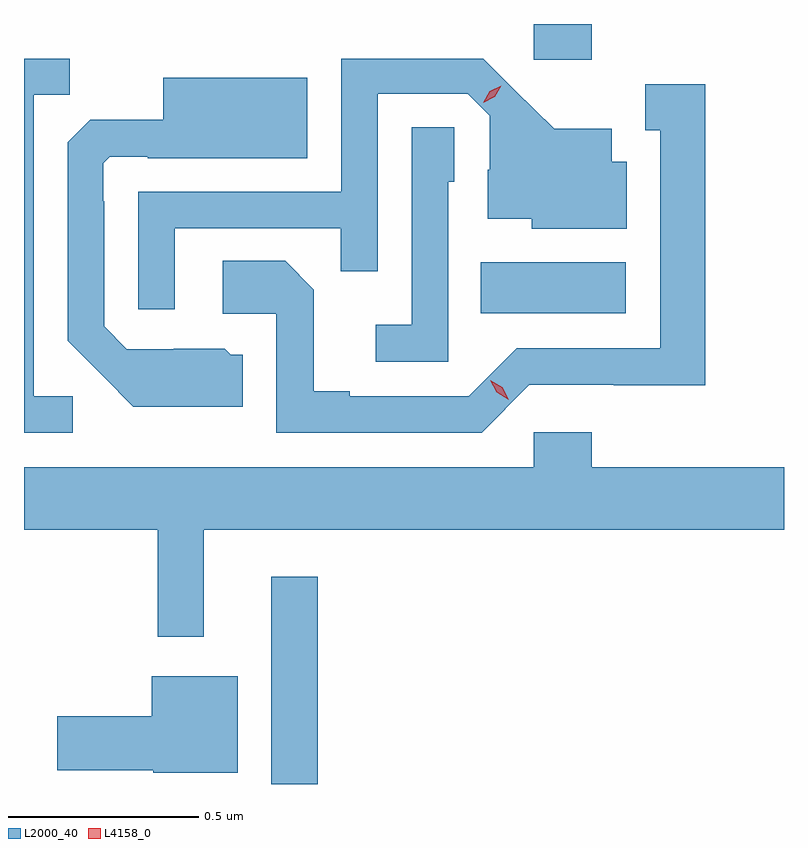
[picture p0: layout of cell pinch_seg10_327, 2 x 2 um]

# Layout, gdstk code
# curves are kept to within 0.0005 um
import gdstk
lib = gdstk.Library(unit=1e-6, precision=1e-09)
def R(c, l, rs):  # rectangles x0, y0, x1, y1
    for r in rs: c.add(gdstk.rectangle(r[:2], r[2:], *l))
def P(c, l, *ps):  # polygons
    for p in ps: c.add(gdstk.Polygon(p, *l))
L2000_40 = (2000, 40)
L4158_0 = (4158, 0)

pinch_seg10_327 = lib.new_cell('pinch_seg10_327')
R(pinch_seg10_327, L2000_40, [(399.665,1290.323,399.787,1290.868), (400.216,1291.562,400.597,1291.696), (400.356,1292.229,400.508,1292.323)])
P(pinch_seg10_327, L2000_40, [(399.142,1291.344),(399.039,1291.344),(399.039,1292.137),(399.135,1292.137),(399.135,1292.232),(399.014,1292.232),(399.014,1291.248),(399.142,1291.248)],
  [(399.411,1291.785),(399.847,1291.785),(399.847,1291.672),(399.945,1291.672),(399.945,1292.139),(400.182,1292.139),(400.239,1292.082),(400.239,1291.94),(400.235,1291.94),(400.235,1291.811),(400.35,1291.811),(400.35,1291.784),(400.6,1291.784),(400.6,1291.96),(400.561,1291.96),(400.561,1292.047),(400.409,1292.047),(400.222,1292.232),(399.849,1292.232),(399.849,1291.881),(399.315,1291.881),(399.315,1291.572),(399.411,1291.572)],
  [(399.589,1291.452),(399.558,1291.452),(399.542,1291.468),(399.408,1291.468),(399.408,1291.467),(399.285,1291.467),(399.225,1291.527),(399.225,1291.856),(399.222,1291.856),(399.222,1291.956),(399.24,1291.974),(399.34,1291.974),(399.34,1291.97),(399.76,1291.97),(399.76,1292.182),(399.38,1292.182),(399.38,1292.071),(399.188,1292.071),(399.129,1292.012),(399.129,1291.49),(399.301,1291.316),(399.589,1291.316)],
  [(400.344,1291.374),(400.566,1291.374),(400.566,1291.373),(400.807,1291.373),(400.807,1292.164),(400.649,1292.164),(400.649,1292.043),(400.688,1292.043),(400.688,1291.47),(400.311,1291.47),(400.185,1291.344),(399.871,1291.344),(399.871,1291.357),(399.777,1291.357),(399.777,1291.624),(399.701,1291.7),(399.537,1291.7),(399.537,1291.56),(399.678,1291.56),(399.678,1291.248),(400.218,1291.248)],
  [(400.131,1291.908),(400.146,1291.908),(400.146,1292.051),(400.035,1292.051),(400.035,1291.531),(399.939,1291.531),(399.939,1291.434),(400.131,1291.434)],
  [(399.487,1290.992),(401.014,1290.992),(401.014,1291.156),(400.508,1291.156),(400.508,1291.249),(400.356,1291.249),(400.356,1291.156),(399.014,1291.156),(399.014,1290.992),(399.366,1290.992),(399.366,1290.711),(399.487,1290.711)],
  [(399.577,1290.607),(399.35,1290.607),(399.35,1290.501),(399.102,1290.501),(399.102,1290.359),(399.354,1290.359),(399.354,1290.353),(399.577,1290.353)])
P(pinch_seg10_327, L4158_0, [(400.29,1291.334),(400.258,1291.354),(400.241,1291.386),(400.241,1291.386),(400.241,1291.386),(400.273,1291.367),(400.29,1291.334),(400.29,1291.334)],
  [(400.222,1292.116),(400.222,1292.116),(400.239,1292.146),(400.27,1292.161),(400.27,1292.161),(400.27,1292.161),(400.253,1292.131),(400.222,1292.116)])

lib.write_gds('pinch_seg10_327.gds')
